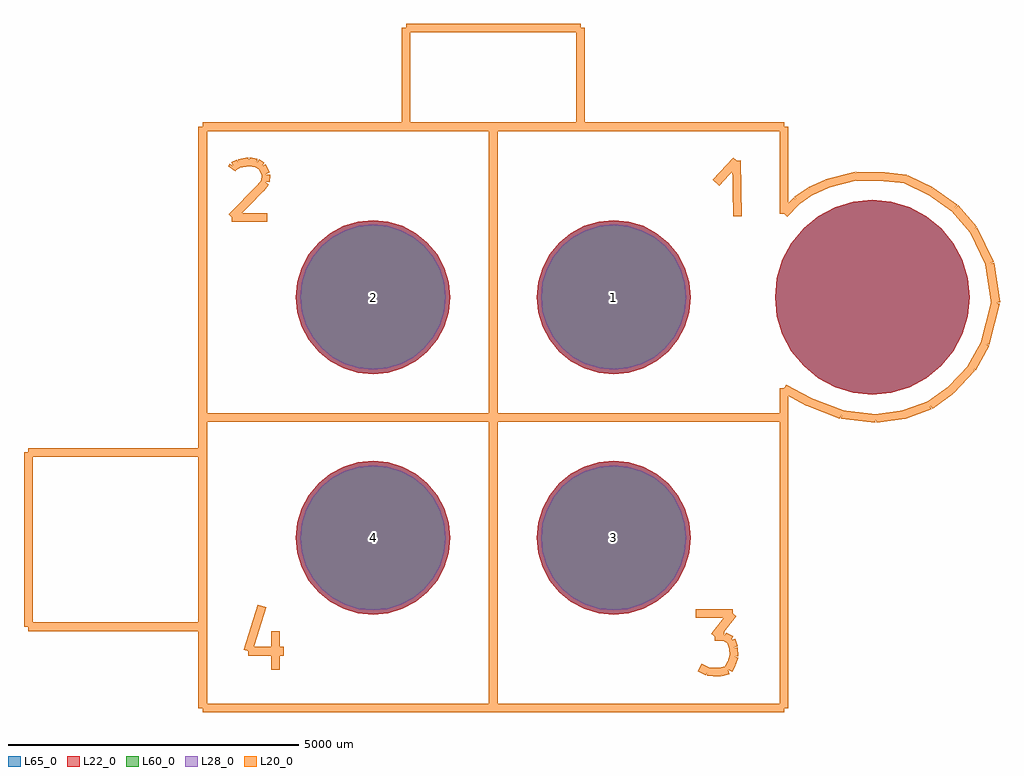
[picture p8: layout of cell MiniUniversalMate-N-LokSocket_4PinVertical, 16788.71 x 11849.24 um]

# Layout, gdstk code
import gdstk
lib = gdstk.Library(unit=1e-6, precision=1e-09)
def P(c, l, *ps):  # polygons
    for p in ps: c.add(gdstk.Polygon(p, *l))
L20_0 = (20, 0)
L22_0 = (22, 0)
L28_0 = (28, 0)
L60_0 = (60, 0)
L65_0 = (65, 0)

miniuniversalmate_n_loks = lib.new_cell('MiniUniversalMate-N-LokSocket_4PinVertical')
P(miniuniversalmate_n_loks, L22_0, [(8195.38,2070.1),(8163.192,2396.915),(8067.863,2711.171),(7913.058,3000.791),(7704.725,3254.645),(7450.871,3462.978),(7161.251,3617.783),(6846.995,3713.112),(6520.18,3745.3),(6193.365,3713.112),(5879.109,3617.783),(5589.489,3462.978),(5335.635,3254.645),(5127.302,3000.791),(4972.497,2711.171),(4877.168,2396.915),(4844.98,2070.1),(4877.168,1743.285),(4972.497,1429.029),(5127.302,1139.409),(5335.635,885.555),(5589.489,677.222),(5879.109,522.417),(6193.365,427.088),(6520.18,394.9),(6846.995,427.088),(7161.251,522.417),(7450.871,677.222),(7704.725,885.555),(7913.058,1139.409),(8067.863,1429.029),(8163.192,1743.285)],
  [(-745.42,-2070.1),(-770.873,-1811.668),(-846.255,-1563.167),(-968.669,-1334.147),(-1133.41,-1133.41),(-1334.147,-968.669),(-1563.167,-846.255),(-1811.668,-770.873),(-2070.1,-745.42),(-2328.532,-770.873),(-2577.033,-846.255),(-2806.053,-968.669),(-3006.79,-1133.41),(-3171.531,-1334.147),(-3293.945,-1563.167),(-3369.327,-1811.668),(-3394.78,-2070.1),(-3369.327,-2328.532),(-3293.945,-2577.033),(-3171.531,-2806.053),(-3006.79,-3006.79),(-2806.053,-3171.531),(-2577.033,-3293.945),(-2328.532,-3369.327),(-2070.1,-3394.78),(-1811.668,-3369.327),(-1563.167,-3293.945),(-1334.147,-3171.531),(-1133.41,-3006.79),(-968.669,-2806.053),(-846.255,-2577.033),(-770.873,-2328.532)],
  [(3394.78,-2070.1),(3369.327,-1811.668),(3293.945,-1563.167),(3171.531,-1334.147),(3006.79,-1133.41),(2806.053,-968.669),(2577.033,-846.255),(2328.532,-770.873),(2070.1,-745.42),(1811.668,-770.873),(1563.167,-846.255),(1334.147,-968.669),(1133.41,-1133.41),(968.669,-1334.147),(846.255,-1563.167),(770.873,-1811.668),(745.42,-2070.1),(770.873,-2328.532),(846.255,-2577.033),(968.669,-2806.053),(1133.41,-3006.79),(1334.147,-3171.531),(1563.167,-3293.945),(1811.668,-3369.327),(2070.1,-3394.78),(2328.532,-3369.327),(2577.033,-3293.945),(2806.053,-3171.531),(3006.79,-3006.79),(3171.531,-2806.053),(3293.945,-2577.033),(3369.327,-2328.532)],
  [(-745.42,2070.1),(-770.873,2328.532),(-846.255,2577.033),(-968.669,2806.053),(-1133.41,3006.79),(-1334.147,3171.531),(-1563.167,3293.945),(-1811.668,3369.327),(-2070.1,3394.78),(-2328.532,3369.327),(-2577.033,3293.945),(-2806.053,3171.531),(-3006.79,3006.79),(-3171.531,2806.053),(-3293.945,2577.033),(-3369.327,2328.532),(-3394.78,2070.1),(-3369.327,1811.668),(-3293.945,1563.167),(-3171.531,1334.147),(-3006.79,1133.41),(-2806.053,968.669),(-2577.033,846.255),(-2328.532,770.873),(-2070.1,745.42),(-1811.668,770.873),(-1563.167,846.255),(-1334.147,968.669),(-1133.41,1133.41),(-968.669,1334.147),(-846.255,1563.167),(-770.873,1811.668)],
  [(3394.78,2070.1),(3369.327,2328.532),(3293.945,2577.033),(3171.531,2806.053),(3006.79,3006.79),(2806.053,3171.531),(2577.033,3293.945),(2328.532,3369.327),(2070.1,3394.78),(1811.668,3369.327),(1563.167,3293.945),(1334.147,3171.531),(1133.41,3006.79),(968.669,2806.053),(846.255,2577.033),(770.873,2328.532),(745.42,2070.1),(770.873,1811.668),(846.255,1563.167),(968.669,1334.147),(1133.41,1133.41),(1334.147,968.669),(1563.167,846.255),(1811.668,770.873),(2070.1,745.42),(2328.532,770.873),(2577.033,846.255),(2806.053,968.669),(3006.79,1133.41),(3171.531,1334.147),(3293.945,1563.167),(3369.327,1811.668)])
P(miniuniversalmate_n_loks, L28_0, [(-820.42,-2070.1),(-844.432,-1826.3),(-915.546,-1591.868),(-1031.029,-1375.815),(-1186.443,-1186.443),(-1375.815,-1031.029),(-1591.868,-915.546),(-1826.3,-844.432),(-2070.1,-820.42),(-2313.9,-844.432),(-2548.332,-915.546),(-2764.385,-1031.029),(-2953.757,-1186.443),(-3109.171,-1375.815),(-3224.654,-1591.868),(-3295.768,-1826.3),(-3319.78,-2070.1),(-3295.768,-2313.9),(-3224.654,-2548.332),(-3109.171,-2764.385),(-2953.757,-2953.757),(-2764.385,-3109.171),(-2548.332,-3224.654),(-2313.9,-3295.768),(-2070.1,-3319.78),(-1826.3,-3295.768),(-1591.868,-3224.654),(-1375.815,-3109.171),(-1186.443,-2953.757),(-1031.029,-2764.385),(-915.546,-2548.332),(-844.432,-2313.9)],
  [(3319.78,-2070.1),(3295.768,-1826.3),(3224.654,-1591.868),(3109.171,-1375.815),(2953.757,-1186.443),(2764.385,-1031.029),(2548.332,-915.546),(2313.9,-844.432),(2070.1,-820.42),(1826.3,-844.432),(1591.868,-915.546),(1375.815,-1031.029),(1186.443,-1186.443),(1031.029,-1375.815),(915.546,-1591.868),(844.432,-1826.3),(820.42,-2070.1),(844.432,-2313.9),(915.546,-2548.332),(1031.029,-2764.385),(1186.443,-2953.757),(1375.815,-3109.171),(1591.868,-3224.654),(1826.3,-3295.768),(2070.1,-3319.78),(2313.9,-3295.768),(2548.332,-3224.654),(2764.385,-3109.171),(2953.757,-2953.757),(3109.171,-2764.385),(3224.654,-2548.332),(3295.768,-2313.9)],
  [(-820.42,2070.1),(-844.432,2313.9),(-915.546,2548.332),(-1031.029,2764.385),(-1186.443,2953.757),(-1375.815,3109.171),(-1591.868,3224.654),(-1826.3,3295.768),(-2070.1,3319.78),(-2313.9,3295.768),(-2548.332,3224.654),(-2764.385,3109.171),(-2953.757,2953.757),(-3109.171,2764.385),(-3224.654,2548.332),(-3295.768,2313.9),(-3319.78,2070.1),(-3295.768,1826.3),(-3224.654,1591.868),(-3109.171,1375.815),(-2953.757,1186.443),(-2764.385,1031.029),(-2548.332,915.546),(-2313.9,844.432),(-2070.1,820.42),(-1826.3,844.432),(-1591.868,915.546),(-1375.815,1031.029),(-1186.443,1186.443),(-1031.029,1375.815),(-915.546,1591.868),(-844.432,1826.3)],
  [(3319.78,2070.1),(3295.768,2313.9),(3224.654,2548.332),(3109.171,2764.385),(2953.757,2953.757),(2764.385,3109.171),(2548.332,3224.654),(2313.9,3295.768),(2070.1,3319.78),(1826.3,3295.768),(1591.868,3224.654),(1375.815,3109.171),(1186.443,2953.757),(1031.029,2764.385),(915.546,2548.332),(844.432,2313.9),(820.42,2070.1),(844.432,1826.3),(915.546,1591.868),(1031.029,1375.815),(1186.443,1186.443),(1375.815,1031.029),(1591.868,915.546),(1826.3,844.432),(2070.1,820.42),(2313.9,844.432),(2548.332,915.546),(2764.385,1031.029),(2953.757,1186.443),(3109.171,1375.815),(3224.654,1591.868),(3295.768,1826.3)])
P(miniuniversalmate_n_loks, L60_0, [(-820.42,-2070.1),(-844.432,-1826.3),(-915.546,-1591.868),(-1031.029,-1375.815),(-1186.443,-1186.443),(-1375.815,-1031.029),(-1591.868,-915.546),(-1826.3,-844.432),(-2070.1,-820.42),(-2313.9,-844.432),(-2548.332,-915.546),(-2764.385,-1031.029),(-2953.757,-1186.443),(-3109.171,-1375.815),(-3224.654,-1591.868),(-3295.768,-1826.3),(-3319.78,-2070.1),(-3295.768,-2313.9),(-3224.654,-2548.332),(-3109.171,-2764.385),(-2953.757,-2953.757),(-2764.385,-3109.171),(-2548.332,-3224.654),(-2313.9,-3295.768),(-2070.1,-3319.78),(-1826.3,-3295.768),(-1591.868,-3224.654),(-1375.815,-3109.171),(-1186.443,-2953.757),(-1031.029,-2764.385),(-915.546,-2548.332),(-844.432,-2313.9)],
  [(3319.78,-2070.1),(3295.768,-1826.3),(3224.654,-1591.868),(3109.171,-1375.815),(2953.757,-1186.443),(2764.385,-1031.029),(2548.332,-915.546),(2313.9,-844.432),(2070.1,-820.42),(1826.3,-844.432),(1591.868,-915.546),(1375.815,-1031.029),(1186.443,-1186.443),(1031.029,-1375.815),(915.546,-1591.868),(844.432,-1826.3),(820.42,-2070.1),(844.432,-2313.9),(915.546,-2548.332),(1031.029,-2764.385),(1186.443,-2953.757),(1375.815,-3109.171),(1591.868,-3224.654),(1826.3,-3295.768),(2070.1,-3319.78),(2313.9,-3295.768),(2548.332,-3224.654),(2764.385,-3109.171),(2953.757,-2953.757),(3109.171,-2764.385),(3224.654,-2548.332),(3295.768,-2313.9)],
  [(-820.42,2070.1),(-844.432,2313.9),(-915.546,2548.332),(-1031.029,2764.385),(-1186.443,2953.757),(-1375.815,3109.171),(-1591.868,3224.654),(-1826.3,3295.768),(-2070.1,3319.78),(-2313.9,3295.768),(-2548.332,3224.654),(-2764.385,3109.171),(-2953.757,2953.757),(-3109.171,2764.385),(-3224.654,2548.332),(-3295.768,2313.9),(-3319.78,2070.1),(-3295.768,1826.3),(-3224.654,1591.868),(-3109.171,1375.815),(-2953.757,1186.443),(-2764.385,1031.029),(-2548.332,915.546),(-2313.9,844.432),(-2070.1,820.42),(-1826.3,844.432),(-1591.868,915.546),(-1375.815,1031.029),(-1186.443,1186.443),(-1031.029,1375.815),(-915.546,1591.868),(-844.432,1826.3)],
  [(3319.78,2070.1),(3295.768,2313.9),(3224.654,2548.332),(3109.171,2764.385),(2953.757,2953.757),(2764.385,3109.171),(2548.332,3224.654),(2313.9,3295.768),(2070.1,3319.78),(1826.3,3295.768),(1591.868,3224.654),(1375.815,3109.171),(1186.443,2953.757),(1031.029,2764.385),(915.546,2548.332),(844.432,2313.9),(820.42,2070.1),(844.432,1826.3),(915.546,1591.868),(1031.029,1375.815),(1186.443,1186.443),(1375.815,1031.029),(1591.868,915.546),(1826.3,844.432),(2070.1,820.42),(2313.9,844.432),(2548.332,915.546),(2764.385,1031.029),(2953.757,1186.443),(3109.171,1375.815),(3224.654,1591.868),(3295.768,1826.3)])
P(miniuniversalmate_n_loks, L65_0, [(8195.38,2070.1),(8163.192,2396.915),(8067.863,2711.171),(7913.058,3000.791),(7704.725,3254.645),(7450.871,3462.978),(7161.251,3617.783),(6846.995,3713.112),(6520.18,3745.3),(6193.365,3713.112),(5879.109,3617.783),(5589.489,3462.978),(5335.635,3254.645),(5127.302,3000.791),(4972.497,2711.171),(4877.168,2396.915),(4844.98,2070.1),(4877.168,1743.285),(4972.497,1429.029),(5127.302,1139.409),(5335.635,885.555),(5589.489,677.222),(5879.109,522.417),(6193.365,427.088),(6520.18,394.9),(6846.995,427.088),(7161.251,522.417),(7450.871,677.222),(7704.725,885.555),(7913.058,1139.409),(8067.863,1429.029),(8163.192,1743.285)],
  [(-745.42,-2070.1),(-770.873,-1811.668),(-846.255,-1563.167),(-968.669,-1334.147),(-1133.41,-1133.41),(-1334.147,-968.669),(-1563.167,-846.255),(-1811.668,-770.873),(-2070.1,-745.42),(-2328.532,-770.873),(-2577.033,-846.255),(-2806.053,-968.669),(-3006.79,-1133.41),(-3171.531,-1334.147),(-3293.945,-1563.167),(-3369.327,-1811.668),(-3394.78,-2070.1),(-3369.327,-2328.532),(-3293.945,-2577.033),(-3171.531,-2806.053),(-3006.79,-3006.79),(-2806.053,-3171.531),(-2577.033,-3293.945),(-2328.532,-3369.327),(-2070.1,-3394.78),(-1811.668,-3369.327),(-1563.167,-3293.945),(-1334.147,-3171.531),(-1133.41,-3006.79),(-968.669,-2806.053),(-846.255,-2577.033),(-770.873,-2328.532)],
  [(3394.78,-2070.1),(3369.327,-1811.668),(3293.945,-1563.167),(3171.531,-1334.147),(3006.79,-1133.41),(2806.053,-968.669),(2577.033,-846.255),(2328.532,-770.873),(2070.1,-745.42),(1811.668,-770.873),(1563.167,-846.255),(1334.147,-968.669),(1133.41,-1133.41),(968.669,-1334.147),(846.255,-1563.167),(770.873,-1811.668),(745.42,-2070.1),(770.873,-2328.532),(846.255,-2577.033),(968.669,-2806.053),(1133.41,-3006.79),(1334.147,-3171.531),(1563.167,-3293.945),(1811.668,-3369.327),(2070.1,-3394.78),(2328.532,-3369.327),(2577.033,-3293.945),(2806.053,-3171.531),(3006.79,-3006.79),(3171.531,-2806.053),(3293.945,-2577.033),(3369.327,-2328.532)],
  [(-745.42,2070.1),(-770.873,2328.532),(-846.255,2577.033),(-968.669,2806.053),(-1133.41,3006.79),(-1334.147,3171.531),(-1563.167,3293.945),(-1811.668,3369.327),(-2070.1,3394.78),(-2328.532,3369.327),(-2577.033,3293.945),(-2806.053,3171.531),(-3006.79,3006.79),(-3171.531,2806.053),(-3293.945,2577.033),(-3369.327,2328.532),(-3394.78,2070.1),(-3369.327,1811.668),(-3293.945,1563.167),(-3171.531,1334.147),(-3006.79,1133.41),(-2806.053,968.669),(-2577.033,846.255),(-2328.532,770.873),(-2070.1,745.42),(-1811.668,770.873),(-1563.167,846.255),(-1334.147,968.669),(-1133.41,1133.41),(-968.669,1334.147),(-846.255,1563.167),(-770.873,1811.668)],
  [(3394.78,2070.1),(3369.327,2328.532),(3293.945,2577.033),(3171.531,2806.053),(3006.79,3006.79),(2806.053,3171.531),(2577.033,3293.945),(2328.532,3369.327),(2070.1,3394.78),(1811.668,3369.327),(1563.167,3293.945),(1334.147,3171.531),(1133.41,3006.79),(968.669,2806.053),(846.255,2577.033),(770.873,2328.532),(745.42,2070.1),(770.873,1811.668),(846.255,1563.167),(968.669,1334.147),(1133.41,1133.41),(1334.147,968.669),(1563.167,846.255),(1811.668,770.873),(2070.1,745.42),(2328.532,770.873),(2577.033,846.255),(2806.053,968.669),(3006.79,1133.41),(3171.531,1334.147),(3293.945,1563.167),(3369.327,1811.668)])
miniuniversalmate_n_loks.add(gdstk.FlexPath([(5001.26,-4998.72),(5001.26,500.38)], 149.998, ends="flush", simple_path=True, layer=20, datatype=0))  # L20_0
miniuniversalmate_n_loks.add(gdstk.FlexPath([(-4998.72,-4998.72),(5001.26,-4998.72)], 149.998, ends="flush", simple_path=True, layer=20, datatype=0))  # L20_0
miniuniversalmate_n_loks.add(gdstk.FlexPath([(-4998.72,5001.26),(-4998.72,-4998.72)], 149.998, ends="flush", simple_path=True, layer=20, datatype=0))  # L20_0
miniuniversalmate_n_loks.add(gdstk.FlexPath([(5001.26,5001.26),(-4998.72,5001.26)], 149.998, ends="flush", simple_path=True, layer=20, datatype=0))  # L20_0
miniuniversalmate_n_loks.add(gdstk.FlexPath([(5001.26,5001.26),(5001.26,3500.12)], 149.998, ends="flush", simple_path=True, layer=20, datatype=0))  # L20_0
miniuniversalmate_n_loks.add(gdstk.FlexPath([(5420.36,269.24),(5001.26,500.38)], 149.998, ends="flush", simple_path=True, layer=20, datatype=0))  # L20_0
miniuniversalmate_n_loks.add(gdstk.FlexPath([(5989.32,50.8),(5420.36,269.24)], 149.998, ends="flush", simple_path=True, layer=20, datatype=0))  # L20_0
miniuniversalmate_n_loks.add(gdstk.FlexPath([(6581.14,-20.32),(5989.32,50.8)], 149.998, ends="flush", simple_path=True, layer=20, datatype=0))  # L20_0
miniuniversalmate_n_loks.add(gdstk.FlexPath([(7071.36,50.8),(6581.14,-20.32)], 149.998, ends="flush", simple_path=True, layer=20, datatype=0))  # L20_0
miniuniversalmate_n_loks.add(gdstk.FlexPath([(7510.78,210.82),(7071.36,50.8)], 149.998, ends="flush", simple_path=True, layer=20, datatype=0))  # L20_0
miniuniversalmate_n_loks.add(gdstk.FlexPath([(7868.92,469.9),(7510.78,210.82)], 149.998, ends="flush", simple_path=True, layer=20, datatype=0))  # L20_0
miniuniversalmate_n_loks.add(gdstk.FlexPath([(8229.6,850.9),(7868.92,469.9)], 149.998, ends="flush", simple_path=True, layer=20, datatype=0))  # L20_0
miniuniversalmate_n_loks.add(gdstk.FlexPath([(8460.74,1270),(8229.6,850.9)], 149.998, ends="flush", simple_path=True, layer=20, datatype=0))  # L20_0
miniuniversalmate_n_loks.add(gdstk.FlexPath([(8641.08,1971.04),(8460.74,1270)], 149.998, ends="flush", simple_path=True, layer=20, datatype=0))  # L20_0
miniuniversalmate_n_loks.add(gdstk.FlexPath([(8539.48,2649.22),(8641.08,1971.04)], 149.998, ends="flush", simple_path=True, layer=20, datatype=0))  # L20_0
miniuniversalmate_n_loks.add(gdstk.FlexPath([(8260.08,3230.88),(8539.48,2649.22)], 149.998, ends="flush", simple_path=True, layer=20, datatype=0))  # L20_0
miniuniversalmate_n_loks.add(gdstk.FlexPath([(7940.04,3599.18),(8260.08,3230.88)], 149.998, ends="flush", simple_path=True, layer=20, datatype=0))  # L20_0
miniuniversalmate_n_loks.add(gdstk.FlexPath([(7520.94,3891.28),(7940.04,3599.18)], 149.998, ends="flush", simple_path=True, layer=20, datatype=0))  # L20_0
miniuniversalmate_n_loks.add(gdstk.FlexPath([(7099.3,4099.56),(7520.94,3891.28)], 149.998, ends="flush", simple_path=True, layer=20, datatype=0))  # L20_0
miniuniversalmate_n_loks.add(gdstk.FlexPath([(6720.84,4140.2),(7099.3,4099.56)], 149.998, ends="flush", simple_path=True, layer=20, datatype=0))  # L20_0
miniuniversalmate_n_loks.add(gdstk.FlexPath([(6240.78,4150.36),(6720.84,4140.2)], 149.998, ends="flush", simple_path=True, layer=20, datatype=0))  # L20_0
miniuniversalmate_n_loks.add(gdstk.FlexPath([(5740.4,4020.82),(6240.78,4150.36)], 149.998, ends="flush", simple_path=True, layer=20, datatype=0))  # L20_0
miniuniversalmate_n_loks.add(gdstk.FlexPath([(5450.84,3891.28),(5740.4,4020.82)], 149.998, ends="flush", simple_path=True, layer=20, datatype=0))  # L20_0
miniuniversalmate_n_loks.add(gdstk.FlexPath([(5219.7,3731.26),(5450.84,3891.28)], 149.998, ends="flush", simple_path=True, layer=20, datatype=0))  # L20_0
miniuniversalmate_n_loks.add(gdstk.FlexPath([(5001.26,3500.12),(5219.7,3731.26)], 149.998, ends="flush", simple_path=True, layer=20, datatype=0))  # L20_0
miniuniversalmate_n_loks.add(gdstk.FlexPath([(-1501.14,6700.52),(-1501.14,5001.26)], 149.998, ends="flush", simple_path=True, layer=20, datatype=0))  # L20_0
miniuniversalmate_n_loks.add(gdstk.FlexPath([(1501.14,6700.52),(-1501.14,6700.52)], 149.998, ends="flush", simple_path=True, layer=20, datatype=0))  # L20_0
miniuniversalmate_n_loks.add(gdstk.FlexPath([(1501.14,5001.26),(1501.14,6700.52)], 149.998, ends="flush", simple_path=True, layer=20, datatype=0))  # L20_0
miniuniversalmate_n_loks.add(gdstk.FlexPath([(-7998.46,-3601.72),(-7998.46,-601.98)], 149.998, ends="flush", simple_path=True, layer=20, datatype=0))  # L20_0
miniuniversalmate_n_loks.add(gdstk.FlexPath([(-4998.72,-3601.72),(-7998.46,-3601.72)], 149.998, ends="flush", simple_path=True, layer=20, datatype=0))  # L20_0
miniuniversalmate_n_loks.add(gdstk.FlexPath([(-4998.72,-601.98),(-4998.72,-3601.72)], 149.998, ends="flush", simple_path=True, layer=20, datatype=0))  # L20_0
miniuniversalmate_n_loks.add(gdstk.FlexPath([(-7998.46,-601.98),(-4998.72,-601.98)], 149.998, ends="flush", simple_path=True, layer=20, datatype=0))  # L20_0
miniuniversalmate_n_loks.add(gdstk.FlexPath([(4180.84,4419.6),(4201.16,3459.48)], 149.998, ends="flush", simple_path=True, layer=20, datatype=0))  # L20_0
miniuniversalmate_n_loks.add(gdstk.FlexPath([(3830.32,4041.14),(4180.84,4419.6)], 149.998, ends="flush", simple_path=True, layer=20, datatype=0))  # L20_0
miniuniversalmate_n_loks.add(gdstk.FlexPath([(0,5001.26),(0,-4998.72)], 149.998, ends="flush", simple_path=True, layer=20, datatype=0))  # L20_0
miniuniversalmate_n_loks.add(gdstk.FlexPath([(-4998.72,0),(5001.26,0)], 149.998, ends="flush", simple_path=True, layer=20, datatype=0))  # L20_0
miniuniversalmate_n_loks.add(gdstk.FlexPath([(-4500.88,3439.16),(-3888.74,3439.16)], 149.998, ends="flush", simple_path=True, layer=20, datatype=0))  # L20_0
miniuniversalmate_n_loks.add(gdstk.FlexPath([(-4010.66,3939.54),(-4500.88,3439.16)], 149.998, ends="flush", simple_path=True, layer=20, datatype=0))  # L20_0
miniuniversalmate_n_loks.add(gdstk.FlexPath([(-3919.22,4051.3),(-4010.66,3939.54)], 149.998, ends="flush", simple_path=True, layer=20, datatype=0))  # L20_0
miniuniversalmate_n_loks.add(gdstk.FlexPath([(-3909.06,4180.84),(-3919.22,4051.3)], 149.998, ends="flush", simple_path=True, layer=20, datatype=0))  # L20_0
miniuniversalmate_n_loks.add(gdstk.FlexPath([(-3980.18,4320.54),(-3909.06,4180.84)], 149.998, ends="flush", simple_path=True, layer=20, datatype=0))  # L20_0
miniuniversalmate_n_loks.add(gdstk.FlexPath([(-4069.08,4378.96),(-3980.18,4320.54)], 149.998, ends="flush", simple_path=True, layer=20, datatype=0))  # L20_0
miniuniversalmate_n_loks.add(gdstk.FlexPath([(-4201.16,4399.28),(-4069.08,4378.96)], 149.998, ends="flush", simple_path=True, layer=20, datatype=0))  # L20_0
miniuniversalmate_n_loks.add(gdstk.FlexPath([(-4378.96,4371.34),(-4201.16,4399.28)], 149.998, ends="flush", simple_path=True, layer=20, datatype=0))  # L20_0
miniuniversalmate_n_loks.add(gdstk.FlexPath([(-4470.4,4320.54),(-4378.96,4371.34)], 149.998, ends="flush", simple_path=True, layer=20, datatype=0))  # L20_0
miniuniversalmate_n_loks.add(gdstk.FlexPath([(-4500.88,4279.9),(-4470.4,4320.54)], 149.998, ends="flush", simple_path=True, layer=20, datatype=0))  # L20_0
miniuniversalmate_n_loks.add(gdstk.FlexPath([(-4218.94,-4020.82),(-3609.34,-4020.82)], 149.998, ends="flush", simple_path=True, layer=20, datatype=0))  # L20_0
miniuniversalmate_n_loks.add(gdstk.FlexPath([(-3980.18,-3241.04),(-4218.94,-4020.82)], 149.998, ends="flush", simple_path=True, layer=20, datatype=0))  # L20_0
miniuniversalmate_n_loks.add(gdstk.FlexPath([(-3749.04,-3680.46),(-3749.04,-4340.86)], 149.998, ends="flush", simple_path=True, layer=20, datatype=0))  # L20_0
miniuniversalmate_n_loks.add(gdstk.FlexPath([(3690.62,-4368.8),(3550.92,-4300.22)], 149.998, ends="flush", simple_path=True, layer=20, datatype=0))  # L20_0
miniuniversalmate_n_loks.add(gdstk.FlexPath([(3789.68,-4378.96),(3690.62,-4368.8)], 149.998, ends="flush", simple_path=True, layer=20, datatype=0))  # L20_0
miniuniversalmate_n_loks.add(gdstk.FlexPath([(3909.06,-4378.96),(3789.68,-4378.96)], 149.998, ends="flush", simple_path=True, layer=20, datatype=0))  # L20_0
miniuniversalmate_n_loks.add(gdstk.FlexPath([(4041.14,-4340.86),(3909.06,-4378.96)], 149.998, ends="flush", simple_path=True, layer=20, datatype=0))  # L20_0
miniuniversalmate_n_loks.add(gdstk.FlexPath([(4099.56,-4229.1),(4041.14,-4340.86)], 149.998, ends="flush", simple_path=True, layer=20, datatype=0))  # L20_0
miniuniversalmate_n_loks.add(gdstk.FlexPath([(4140.2,-4109.72),(4099.56,-4229.1)], 149.998, ends="flush", simple_path=True, layer=20, datatype=0))  # L20_0
miniuniversalmate_n_loks.add(gdstk.FlexPath([(4130.04,-3959.86),(4140.2,-4109.72)], 149.998, ends="flush", simple_path=True, layer=20, datatype=0))  # L20_0
miniuniversalmate_n_loks.add(gdstk.FlexPath([(4089.4,-3830.32),(4130.04,-3959.86)], 149.998, ends="flush", simple_path=True, layer=20, datatype=0))  # L20_0
miniuniversalmate_n_loks.add(gdstk.FlexPath([(3970.02,-3769.36),(4089.4,-3830.32)], 149.998, ends="flush", simple_path=True, layer=20, datatype=0))  # L20_0
miniuniversalmate_n_loks.add(gdstk.FlexPath([(3810,-3769.36),(3970.02,-3769.36)], 149.998, ends="flush", simple_path=True, layer=20, datatype=0))  # L20_0
miniuniversalmate_n_loks.add(gdstk.FlexPath([(4119.88,-3370.58),(3810,-3769.36)], 149.998, ends="flush", simple_path=True, layer=20, datatype=0))  # L20_0
miniuniversalmate_n_loks.add(gdstk.FlexPath([(3479.8,-3370.58),(4119.88,-3370.58)], 149.998, ends="flush", simple_path=True, layer=20, datatype=0))  # L20_0
miniuniversalmate_n_loks.add(gdstk.Label('4', (-2070.1,-2070.1), layer=28, texttype=0))
miniuniversalmate_n_loks.add(gdstk.Label('3', (2070.1,-2070.1), layer=28, texttype=0))
miniuniversalmate_n_loks.add(gdstk.Label('2', (-2070.1,2070.1), layer=28, texttype=0))
miniuniversalmate_n_loks.add(gdstk.Label('1', (2070.1,2070.1), layer=28, texttype=0))
miniuniversalmate_n_loks.add(gdstk.Label('type', (-30.48,-8569.96), layer=9, texttype=0))
miniuniversalmate_n_loks.add(gdstk.Label('devicename', (-78.74,8849.36), layer=9, texttype=0))

lib.write_gds('MiniUniversalMate-N-LokSocket_4PinVertical.gds')
